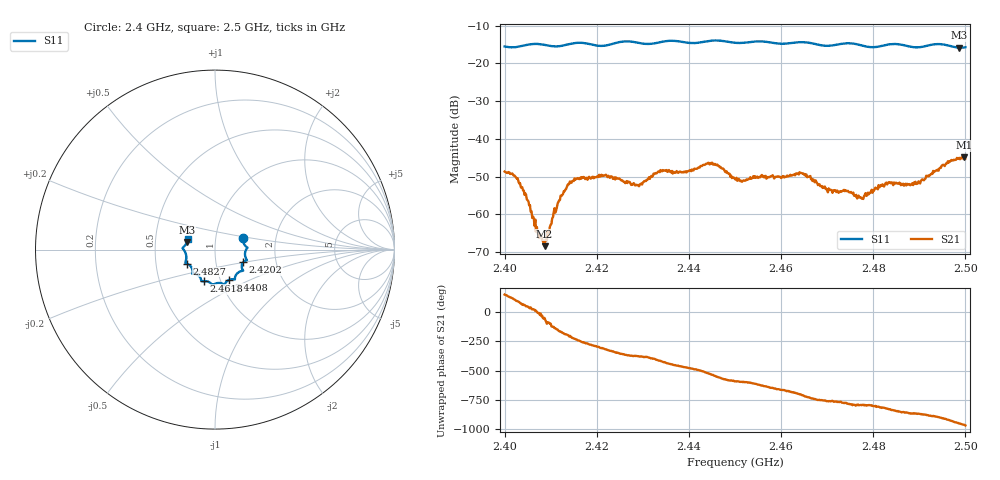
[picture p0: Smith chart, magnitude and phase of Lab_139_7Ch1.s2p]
# Hz S RI R 50
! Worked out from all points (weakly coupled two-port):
!   601 points, 2.4 GHz to 2.5 GHz, reference 50 ohm
!   highest |S21| = -44.92 dB at 2.4997 GHz (marker M1); lowest = -68.5 dB at 2.4087 GHz (marker M2)
!   lowest |S11| = -15.8 dB at 2.4987 GHz (marker M3), VSWR 1.39, Z = 36.4 + j3.16 ohm
!   |S11| at or under -10 dB: start of sweep to end of sweep
!   S12 and S22 are empty: the file has one direction only
!   S11 on the Smith chart (normalised r, x): 2.4 GHz: 1.36, +0.17; 2.4202 GHz: 1.36, -0.20; 2.4408 GHz: 1.10, -0.38; 2.4618 GHz: 0.84, -0.30; 2.4827 GHz: 0.72, -0.12; 2.5 GHz: 0.73, +0.09
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2.4e9  0.1561 0.0622  -0.00318 0.00187  0 0  0 0
2.402833e9  0.1634 0.0285  -4.36e-05 0.00299  0 0  0 0
2.405e9  0.1765 0.0144  0.00103 0.00113  0 0  0 0
2.407e9  0.181 0.0108  0.000676 3.64e-05  0 0  0 0
2.408667e9  0.1764 0.0048  0.000244 -0.000288  0 0  0 0
2.412667e9  0.1685 -0.0375  -0.00184 -4.69e-05  0 0  0 0
2.416667e9  0.1782 -0.0593  -0.000904 0.00283  0 0  0 0
2.420167e9  0.1567 -0.0705  0.00134 0.0029  0 0  0 0
2.428833e9  0.1462 -0.1195  0.00233 -0.000659  0 0  0 0
2.433333e9  0.112 -0.152  0.0023 -0.00288  0 0  0 0
2.440833e9  0.0789 -0.1686  -0.00209 -0.00322  0 0  0 0
2.445167e9  0.0531 -0.1939  -0.00456 -0.000419  0 0  0 0
2.45e9  0.0277 -0.1859  -0.00186 0.00226  0 0  0 0
2.461833e9  -0.0601 -0.1753  0.00243 0.00216  0 0  0 0
2.466667e9  -0.077 -0.1684  0.00283 -0.000841  0 0  0 0
2.4775e9  -0.1251 -0.12  0.000445 -0.00154  0 0  0 0
2.482667e9  -0.1572 -0.0779  -0.000445 -0.00253  0 0  0 0
2.483333e9  -0.1613 -0.0764  -0.000786 -0.00254  0 0  0 0
2.489833e9  -0.1619 -0.025  -0.00227 -0.00152  0 0  0 0
2.498667e9  -0.156 0.0423  -0.00361 0.00429  0 0  0 0
2.499667e9  -0.1524 0.0567  -0.00276 0.00496  0 0  0 0
2.5e9  -0.152 0.0617  -0.00218 0.00505  0 0  0 0
